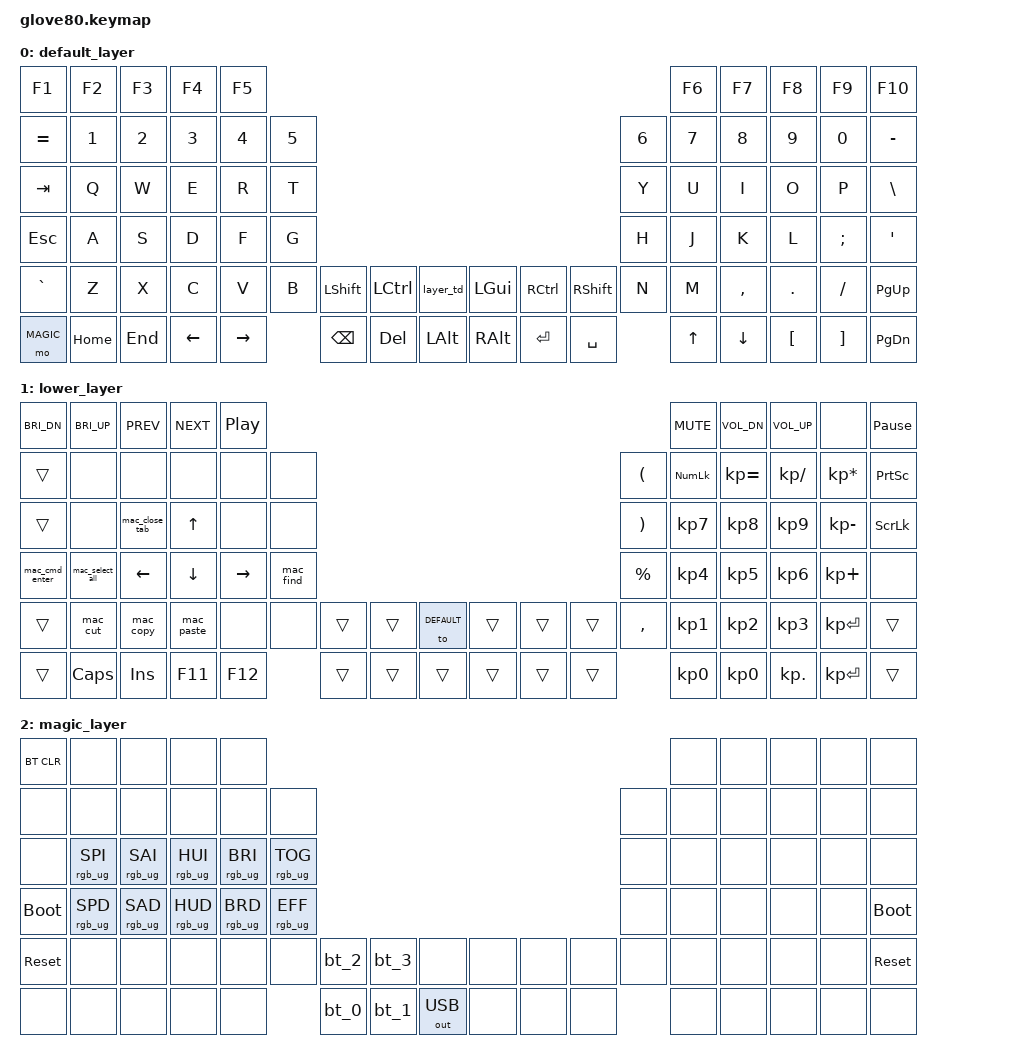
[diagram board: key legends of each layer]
/*
 * Copyright (c) 2020 The ZMK Contributors
 *
 * SPDX-License-Identifier: MIT
 */

#include <behaviors.dtsi>
#include <dt-bindings/zmk/bt.h>
#include <dt-bindings/zmk/keys.h>
#include <dt-bindings/zmk/outputs.h>
#include <dt-bindings/zmk/rgb.h>

// layers

#define DEFAULT 0
#define LOWER 1
#define MAGIC 2

/ {
    behaviors {
        // For the "layer" key, it'd nice to be able to use it as either a shift or a toggle.
        // Configure it as a tap dance, so the first tap (or hold) is a &mo and the second tap is a &to

        layer_td: tap_dance_0 {
            compatible = "zmk,behavior-tap-dance";
            #binding-cells = <0>;
            tapping-term-ms = <200>;
            bindings = <&mo LOWER>, <&to LOWER>;
        };
    };

    macros {
        bt_0: bt_profile_macro_0 {
            compatible = "zmk,behavior-macro";
            #binding-cells = <0>;
            bindings = <&out OUT_BLE &bt BT_SEL 0>;
        };

        bt_1: bt_profile_macro_1 {
            compatible = "zmk,behavior-macro";
            #binding-cells = <0>;
            bindings = <&out OUT_BLE &bt BT_SEL 1>;
        };

        bt_2: bt_profile_macro_2 {
            compatible = "zmk,behavior-macro";
            #binding-cells = <0>;
            bindings = <&out OUT_BLE &bt BT_SEL 2>;
        };

        bt_3: bt_profile_macro_3 {
            compatible = "zmk,behavior-macro";
            #binding-cells = <0>;
            bindings = <&out OUT_BLE &bt BT_SEL 3>;
        };

        mac_copy: mac_copy {
            compatible = "zmk,behavior-macro";
            #binding-cells = <0>;
            bindings = <&kp LG(C)>;
            label = "MAC_COPY";
        };

        mac_paste: mac_paste {
            compatible = "zmk,behavior-macro";
            #binding-cells = <0>;
            bindings = <&kp LG(V)>;
            label = "MAC_PASTE";
        };

        mac_cut: mac_cut {
            compatible = "zmk,behavior-macro";
            #binding-cells = <0>;
            bindings = <&kp LG(X)>;
            label = "MAC_CUT";
        };

        mac_undo: mac_undo {
            compatible = "zmk,behavior-macro";
            #binding-cells = <0>;
            bindings = <&kp LG(Z)>;
            label = "MAC_UNDO";
        };

        mac_select_all: mac_select_all {
            compatible = "zmk,behavior-macro";
            #binding-cells = <0>;
            bindings = <&kp LG(A)>;
            label = "MAC_SELECT_ALL";
        };

        mac_close_tab: mac_close_tab {
            compatible = "zmk,behavior-macro";
            #binding-cells = <0>;
            bindings = <&kp LG(W)>;
            label = "MAC_CLOSE_TAB";
        };

        mac_find: mac_find {
            compatible = "zmk,behavior-macro";
            #binding-cells = <0>;
            bindings = <&kp LG(F)>;
            label = "MAC_FIND";
        };

        mac_cmd_enter: mac_cmd_enter {
            compatible = "zmk,behavior-macro";
            #binding-cells = <0>;
            bindings = <&kp LG(ENTER)>;
            label = "MAC_CMD_ENTER";
        };

        mac_cmd_slash: mac_cmd_slash {
            compatible = "zmk,behavior-macro";
            #binding-cells = <0>;
            bindings = <&kp LG(SLASH)>;
            label = "MAC_CMD_SLASH";
        };

        mac_save: mac_save {
            compatible = "zmk,behavior-macro";
            #binding-cells = <0>;
            bindings = <&kp LG(S)>;
            label = "MAC_SAVE";
        };

        mac_line_start: mac_line_start {
            compatible = "zmk,behavior-macro";
            #binding-cells = <0>;
            bindings = <&kp LG(LEFT)>;
            label = "MAC_LINE_START";
        };

        mac_line_end: mac_line_end {
            compatible = "zmk,behavior-macro";
            #binding-cells = <0>;
            bindings = <&kp LG(RIGHT)>;
            label = "MAC_LINE_END";
        };

        mac_select_next: mac_select_next {
            compatible = "zmk,behavior-macro";
            #binding-cells = <0>;
            bindings = <&kp LS(LA(RIGHT))>;
            label = "MAC_SELECT_NEXT";
        };

        jupyter_run_cell: jupyter_run_cell {
            compatible = "zmk,behavior-macro";
            #binding-cells = <0>;
            bindings = <&kp RS(ENTER)>;
            label = "JUPYTER_RUN_CELL";
        };

        mac_bold: mac_bold {
            compatible = "zmk,behavior-macro";
            #binding-cells = <0>;
            bindings = <&kp LG(B)>;
            label = "MAC_BOLD";
        };

        mac_select_prev: mac_select_prev {
            compatible = "zmk,behavior-macro";
            #binding-cells = <0>;
            bindings = <&kp LS(LA(LEFT))>;
            label = "MAC_SELECT_PREV";
        };
    };

    keymap {
        compatible = "zmk,keymap";

        default_layer {
            // ---------------------------------------------------------------------------------------------------------------------------------
            // |  F1   |  F2 |  F3 |  F4  |  F5  |                                                               |  F6   |  F7   |  F8  |   F9  |  F10 |
            // |  =    |  1  |  2  |  3   |  4   |  5   |                                                 |  6   |   7   |   8   |  9   |   0   |   -  |
            // |  TAB  |  Q  |  W  |  E   |  R   |  T   |                                                 |  Y   |   U   |   I   |  O   |   P   |   \  |
            // |  ESC  |  A  |  S  |  D   |  F   |  G   |                                                 |  H   |   J   |   K   |  L   |   ;   |   '  |
            // |   `   |  Z  |  X  |  C   |  V   |  B   | LSHFT | LCTRL | LOWER | | LGUI  | RCTRL | RSHFT |  N   |   M   |   ,   |  .   |   /   | PGUP |
            // | MAGIC | HOME| END | LEFT | RIGHT|      | BSPC  | DEL   | LALT  | | RALT  | RET   | SPACE |      |  UP   | DOWN  |  [   |   ]   | PGDN |

            bindings = <
&kp F1     &kp F2    &kp F3   &kp F4    &kp F5                                                                                        &kp F6  &kp F7     &kp F8    &kp F9    &kp F10
&kp EQUAL  &kp N1    &kp N2   &kp N3    &kp N4     &kp N5                                                                     &kp N6  &kp N7  &kp N8     &kp N9    &kp N0    &kp MINUS
&kp TAB    &kp Q     &kp W    &kp E     &kp R      &kp T                                                                      &kp Y   &kp U   &kp I      &kp O     &kp P     &kp BSLH
&kp ESC    &kp A     &kp S    &kp D     &kp F      &kp G                                                                      &kp H   &kp J   &kp K      &kp L     &kp SEMI  &kp SQT
&kp GRAVE  &kp Z     &kp X    &kp C     &kp V      &kp B   &kp LSHFT  &kp LCTRL  &layer_td    &kp LGUI  &kp RCTRL  &kp RSHFT  &kp N   &kp M   &kp COMMA  &kp DOT   &kp FSLH  &kp PG_UP
&mo MAGIC  &kp HOME  &kp END  &kp LEFT  &kp RIGHT          &kp BSPC   &kp DEL    &kp LALT     &kp RALT  &kp RET    &kp SPACE          &kp UP  &kp DOWN   &kp LBKT  &kp RBKT  &kp PG_DN
            >;
        };

        lower_layer {
            bindings = <
&kp C_BRI_DN    &kp C_BRI_UP     &kp C_PREV      &kp C_NEXT  &kp C_PP                                                                                &kp C_MUTE  &kp C_VOL_DN  &kp C_VOL_UP   &none            &kp PAUSE_BREAK
&trans          &none            &none           &none       &none      &none                                                             &kp LPAR   &kp KP_NUM  &kp KP_EQUAL  &kp KP_DIVIDE  &kp KP_MULTIPLY  &kp PSCRN
&trans          &none            &mac_close_tab  &kp UP      &none      &none                                                             &kp RPAR   &kp KP_N7   &kp KP_N8     &kp KP_N9      &kp KP_MINUS     &kp SLCK
&mac_cmd_enter  &mac_select_all  &kp LEFT        &kp DOWN    &kp RIGHT  &mac_find                                                         &kp PRCNT  &kp KP_N4   &kp KP_N5     &kp KP_N6      &kp KP_PLUS      &none
&trans          &mac_cut         &mac_copy       &mac_paste  &none      &none      &trans  &trans  &to DEFAULT    &trans  &trans  &trans  &kp COMMA  &kp KP_N1   &kp KP_N2     &kp KP_N3      &kp KP_ENTER     &trans
&trans          &kp CAPS         &kp INS         &kp F11     &kp F12               &trans  &trans  &trans         &trans  &trans  &trans             &kp KP_N0   &kp KP_N0     &kp KP_DOT     &kp KP_ENTER     &trans
            >;
        };

        magic_layer {
            bindings = <
&bt BT_CLR   &none            &none            &none            &none                                                                                       &none  &none  &none  &none  &none
&none        &none            &none            &none            &none            &none                                                               &none  &none  &none  &none  &none  &none
&none        &rgb_ug RGB_SPI  &rgb_ug RGB_SAI  &rgb_ug RGB_HUI  &rgb_ug RGB_BRI  &rgb_ug RGB_TOG                                                     &none  &none  &none  &none  &none  &none
&bootloader  &rgb_ug RGB_SPD  &rgb_ug RGB_SAD  &rgb_ug RGB_HUD  &rgb_ug RGB_BRD  &rgb_ug RGB_EFF                                                     &none  &none  &none  &none  &none  &bootloader
&sys_reset   &none            &none            &none            &none            &none            &bt_2  &bt_3  &none           &none  &none  &none  &none  &none  &none  &none  &none  &sys_reset
&none        &none            &none            &none            &none                             &bt_0  &bt_1  &out OUT_USB    &none  &none  &none         &none  &none  &none  &none  &none
            >;
        };
    };
};
